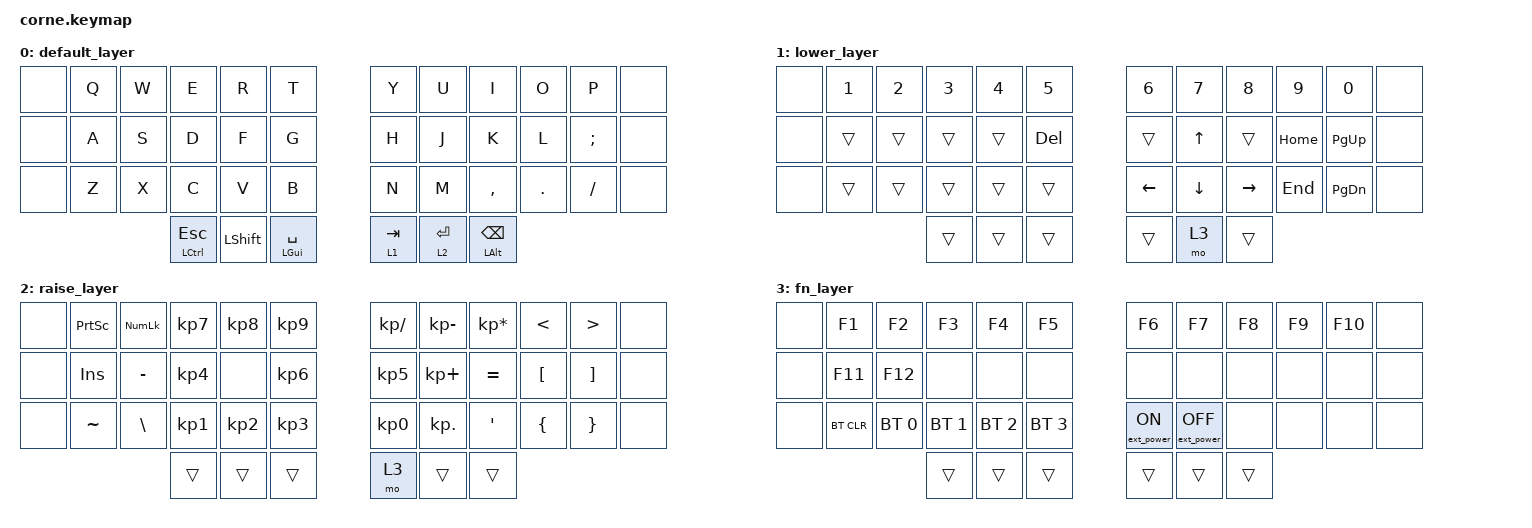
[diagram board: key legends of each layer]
/*
 * Copyright (c) 2020 The ZMK Contributors
 *
 * SPDX-License-Identifier: MIT
 */

#include <behaviors.dtsi>
#include <dt-bindings/zmk/keys.h>
#include <dt-bindings/zmk/bt.h>
#include <dt-bindings/zmk/ext_power.h>

&kscan0 {
  debounce-period = <20>;
};

/ {
    behaviors {
        // Customized mod_tap and layer_tap:
        // - Enables quick_tap. Useful for backspace/space.
        // - Switch to balanced flavor to allow for fast (back)space + character rollovers.
        mt_: custom_mod_tap {
            compatible = "zmk,behavior-hold-tap";
            label = "MOD_TAP";
            #binding-cells = <2>;
            flavor = "balanced";
            tapping-term-ms = <200>;
            quick_tap_ms = <500>;
            bindings = <&kp>, <&kp>;
        };
        lt_: custom_layer_tap {
            compatible = "zmk,behavior-hold-tap";
            label = "LAYER_TAP";
            #binding-cells = <2>;
            flavor = "balanced";
            tapping-term-ms = <200>;
            quick_tap_ms = <500>;
            bindings = <&mo>, <&kp>;
        };

    };
    
        keymap {
                compatible = "zmk,keymap";

                default_layer {
// -----------------------------------------------------------------------------------------
// |  Q  |  W  |  E  |  R  |  T  |   |  Y  |  U   |  I  |  O  |  P  | 
// |  A  |  S  |  D  |  F  |  G  |   |  H  |  J   |  K  |  L  |  ;  | 
// |  Z  |  X  |  C  |  V  |  B  |   |  N  |  M   |  ,  |  .  |  /  | 
//  | CTRL ESC | SHIFT | GUI SPC |   | LWR TAB | RSE RET | ALT BKSP |
                        bindings = <
   &none &kp Q &kp W &kp E &kp R &kp T        &kp Y &kp U  &kp I      &kp O   &kp P    &none
   &none &kp A &kp S &kp D &kp F &kp G        &kp H &kp J  &kp K      &kp L   &kp SEMI &none
   &none &kp Z &kp X &kp C &kp V &kp B        &kp N &kp M  &kp COMMA  &kp DOT &kp FSLH &none
   &mt_ LCTRL ESC &kp LSHFT &mt_ LGUI SPACE   &lt_ 1 TAB   &lt_ 2 RET &mt_ LALT BKSP
                        >;
                };
                
                lower_layer {
// -----------------------------------------------------------------------------------------
// |  1  |  2  |  3  |  4  |  5  |   |  6  |  7  |  8  |  9  |  0  |
// |     |     |     |     | DEL |   |     |  UP |     | HOME|PG_UP|
// |     |     |     |     |     |   | LFT | DWN | RGT | END |PG_DN|
//             |     |     |     |   |     |  3  |     |
                        bindings = <
   &none &kp N1 &kp N2 &kp N3 &kp N4 &kp N5    &kp N6   &kp N7   &kp N8    &kp N9   &kp N0    &none
   &none &trans	&trans &trans &trans &kp DEL   &trans   &kp UP   &trans    &kp HOME &kp PG_UP &none
   &none &trans	&trans &trans &trans &trans    &kp LEFT &kp DOWN &kp RIGHT &kp END  &kp PG_DN &none
                       &trans &trans &trans    &trans   &mo      3 &trans
                        >;
                };
                
                raise_layer {
// -----------------------------------------------------------------------------------------
// |PSCRN|KP_NLCK|KP_N7|KP_N8|KP_N9|   |  /  |  -  |  *  |  <  |  >   |
// | INS |   -   |KP_N4|     |KP_N6|   |KP_N5|  +  |  =  |  [  |  ]   |
// |  ~  |   \   |KP_N1|KP_N2|KP_N3|   |KP_N0|  .  |  '  |  {  |  }   | 
//               |     |     |     |   |  3  |     |     |
                        bindings = <
   &none &kp PSCRN &kp KP_NLCK &kp KP_N7 &kp KP_N8 &kp KP_N9   &kp KP_SLASH &kp KP_MINUS &kp KP_ASTERISK &kp LT   &kp GT &none
   &none &kp INS   &kp MINUS   &kp KP_N4 &none     &kp KP_N6   &kp KP_N5    &kp KP_PLUS  &kp EQUAL       &kp LBKT &kp RBKT &none
   &none &kp TILDE &kp BSLH    &kp KP_N1 &kp KP_N2 &kp KP_N3   &kp KP_N0    &kp KP_DOT   &kp SQT         &kp LBRC &kp RBRC &none
                               &trans    &trans    &trans      &mo 3     &trans    &trans
                        >;
                };
                
                fn_layer {
// -----------------------------------------------------------------------------------------
// | F1   | F2    | F3    | F4    | F5    |   | F6  | F7   | F8  | F9  | F10  |
// | F11  | F12   |       |       |       |   |     |      |     |     |      |
// |BT_CLR|BT_SEL0|BT_SEL1|BT_SEL2|BT_SEL3|   |EP_ON|EP_OFF|     |     |      |   
//                |       |       |       |   |     |      |     |
                      bindings = <
    &none &kp F1     &kp F2       &kp F3       &kp F4       &kp F5         &kp F6           &kp F7            &kp F8 &kp F9 &kp F10 &none
    &none &kp F11    &kp F12      &none        &none        &none          &none            &none             &none  &none  &none   &none
    &none &bt BT_CLR &bt BT_SEL 0 &bt BT_SEL 1 &bt BT_SEL 2 &bt BT_SEL 3   &ext_power EP_ON &ext_power EP_OFF &none  &none  &none   &none
                                  &trans       &trans       &trans         &trans           &trans            &trans
                     >;
              };
        };
};
